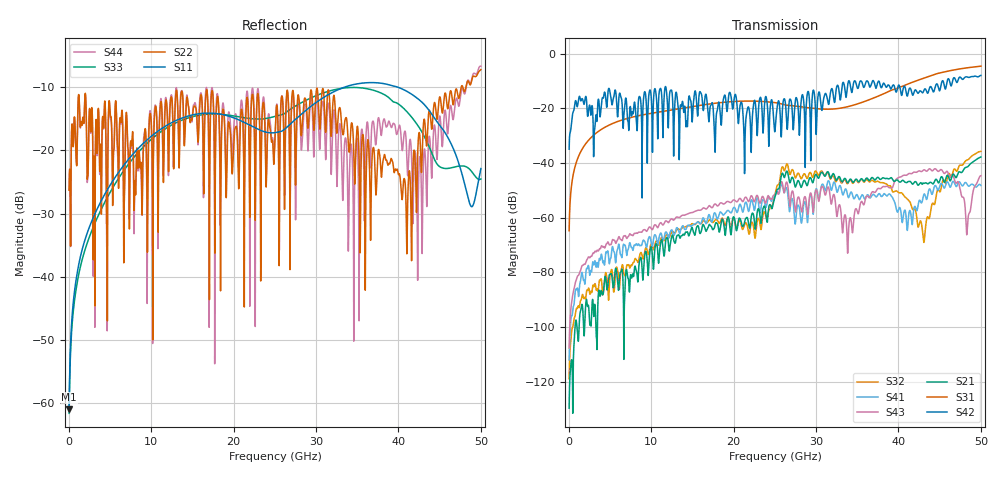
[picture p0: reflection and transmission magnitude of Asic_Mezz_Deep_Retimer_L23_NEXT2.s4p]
! Created Wed Jul  3 11:28:53 2019
# hz S ma R 50
! 4 Port Network Data from SP1.SP block
! freq  magS11  angS11  magS12  angS12  magS13  angS13  magS14  angS14
!  magS21  angS21  magS22  angS22  magS23  angS23  magS24  angS24
!  magS31  angS31  magS32  angS32  magS33  angS33  magS34  angS34
!  magS41  angS41  magS42  angS42  magS43  angS43  magS44  angS44
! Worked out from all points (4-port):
!   4996 points, 50 MHz to 50 GHz, reference 50 ohm
!   strongest paths, dB at 50 MHz, 12.54 GHz, 25.03 GHz, 37.52 GHz, 50 GHz:
!     S42: -34.9, -14.2, -28.0, -10.2, -7.9
!     S31: -64.7, -20.5, -17.9, -15.5, -4.5
!     S21: -129.7, -66.4, -52.3, -45.2, -37.7
!     S43: -107.6, -60.4, -51.4, -49.3, -44.6
!     S41: -112.0, -64.5, -51.9, -51.5, -48.2
!     S32: -118.9, -65.0, -51.4, -46.7, -35.7
!   lowest |S11| = -61.0 dB at 50 MHz (marker M1), VSWR 1.00, Z = 50.1 + j0.0702 ohm
!   |S11| at or under -10 dB: start of sweep to 33.4 GHz; 39.97 GHz to end of sweep
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5e7  0.0008908 51.9  3.271e-07 93.1  0.000579 86.5  2.525e-06 86.5
     3.271e-07 93.1  0.04854 -88.1  1.136e-06 86.0  0.01803 53.0
     0.000579 86.5  1.136e-06 86.0  0.0008298 48.0  4.148e-06 84.0
     2.525e-06 86.5  0.01803 53.0  4.148e-06 84.0  0.04865 -88.1
2.64e9  0.02605 69.9  1.177e-05 153.8  0.02866 70.3  0.0001063 38.2
        1.177e-05 153.8  0.1535 74.0  4.267e-05 76.5  0.08826 74.7
        0.02866 70.3  4.267e-05 76.5  0.02179 72.9  0.0001937 35.5
        0.0001063 38.2  0.08826 74.7  0.0001937 35.5  0.1501 73.4
1.276e10  0.1695 -3.3  0.0003778 62.5  0.09535 14.6  0.0004748 142.7
          0.0003778 62.5  0.08178 -3.7  0.0005332 76.3  0.03606 54.8
          0.09535 14.6  0.0005332 76.3  0.1627 2.4  0.0009123 154.4
          0.0004748 142.7  0.03606 54.8  0.0009123 154.4  0.1058 8.4
2.646e10  0.1529 -48.0  0.007158 71.6  0.1151 -100.8  0.003411 72.5
          0.007158 71.6  0.2909 -47.1  0.009693 75.9  0.04891 72.4
          0.1151 -100.8  0.009693 75.9  0.2025 -52.4  0.004479 72.1
          0.003411 72.5  0.04891 72.4  0.004479 72.1  0.2793 -59.7
3.388e10  0.3239 -74.1  0.004391 -114.4  0.1082 149.5  0.002422 173.2
          0.004391 -114.4  0.1219 -144.9  0.00432 -57.9  0.2916 33.6
          0.1082 149.5  0.00432 -57.9  0.3146 -87.4  0.0003133 -56.5
          0.002422 173.2  0.2916 33.6  0.0003133 -56.5  0.02702 -155.9
4.308e10  0.2331 -141.6  0.004254 81.3  0.3598 46.1  0.002673 103.8
          0.004254 81.3  0.1739 -7.6  0.000355 80.1  0.2133 -131.6
          0.3598 46.1  0.000355 80.1  0.1312 -140.2  0.007546 171.2
          0.002673 103.8  0.2133 -131.6  0.007546 171.2  0.09312 -23.2
5e10  0.07192 44.7  0.01299 -120.1  0.5951 -46.2  0.003899 144.3
      0.01299 -120.1  0.4371 -59.9  0.01642 -112.8  0.4022 51.9
      0.5951 -46.2  0.01642 -112.8  0.05952 -49.8  0.005899 95.9
      0.003899 144.3  0.4022 51.9  0.005899 95.9  0.4648 -53.4
